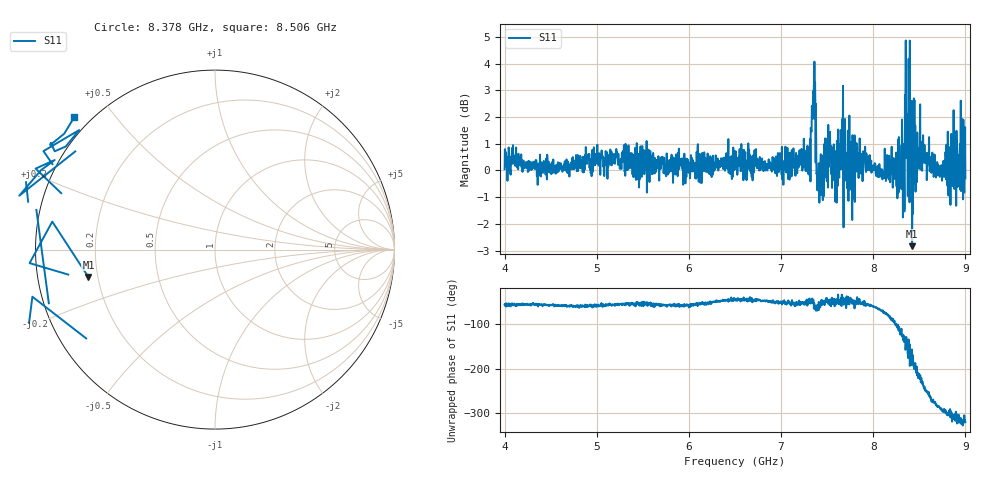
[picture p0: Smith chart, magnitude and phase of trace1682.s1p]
! Created with skrf 1.8.0 (http://scikit-rf.org).
# Hz S RI R 50.0
!freq ReS11 ImS11
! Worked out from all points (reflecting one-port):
!   1601 points, 4 GHz to 9 GHz, reference 50 ohm
!   lowest |S11| = -2.8 dB at 8.422 GHz (marker M1), VSWR 6.19, Z = 8.17 - j5.22 ohm
!   phase of S11 starts at -57 deg and turns -261 deg over the sweep
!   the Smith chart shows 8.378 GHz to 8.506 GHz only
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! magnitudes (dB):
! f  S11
! 4 GHz  0.0
! 4.625 GHz  0.1
! 5.25 GHz  0.1
! 5.875 GHz  0.3
! 6.5 GHz  0.3
! 7.125 GHz  0.6
! 7.294 GHz  -0.1
! 7.319 GHz  -0.4
! 7.347 GHz  2.9
! 7.359 GHz  3.0
! 7.397 GHz  -0.6
! 7.412 GHz  -0.7
! 7.509 GHz  -0.6
! 7.606 GHz  1.1
! 7.669 GHz  1.1
! 7.75 GHz  0.8
! 7.784 GHz  -0.6
! 7.828 GHz  0.5
! 8.097 GHz  0.0
! 8.294 GHz  -0.3
! 8.316 GHz  0.4
! 8.331 GHz  -1.2
! 8.375 GHz  -1.0
! 8.412 GHz  0.2
! 8.422 GHz  -2.8
! 8.722 GHz  -0.2
! 8.956 GHz  0.4
! 9 GHz  -0.3
